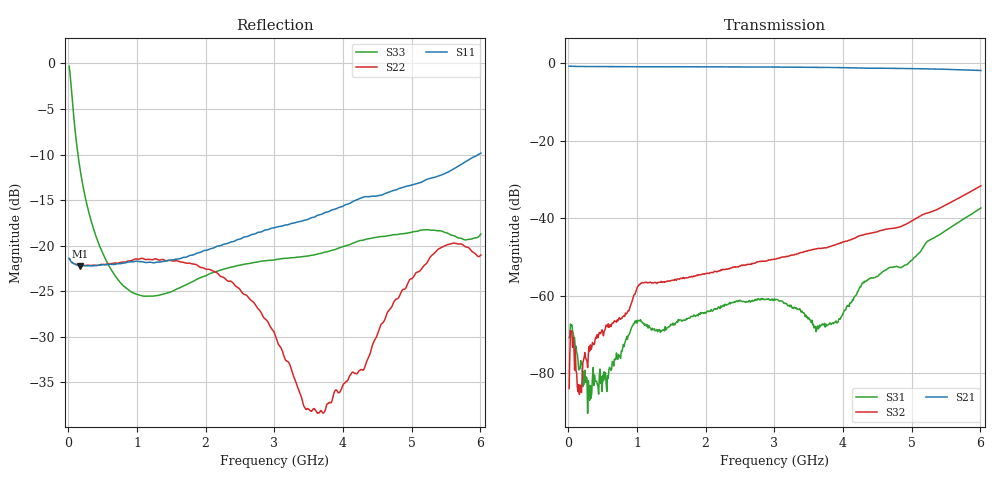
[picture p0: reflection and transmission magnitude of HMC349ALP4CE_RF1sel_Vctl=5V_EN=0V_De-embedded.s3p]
! Device:	HMC349ALP4CE
! Description:	SOI MMIC SPDT Non-Reflective Switch
! Package:	LP4CE 16 pin 4x4 mm QFN Plastic Package
! Frequency:	DC -  4 GHz
! Ports:
! RFC = Port 1
! RF1 = Port 2
! RF2 = Port 3
! State: RF1 Selected
! Supply Voltage:
! Vdd = +5 V
! Control Voltages:
! Vctl  = +5 V
! EN  = 0 V
! Data:	Data was collected using a calibrated network analyzer with AFR software.
!	Fixtures were calculated using AFR and fixturing was applied to collect
!	this Deembedded  S Parameter data of HMC349ALP4CE.
! Note:	Analog Devices supplies this data as a sample of measured data at the package pin
!	for this product.  Your particular data for this product may vary.
!	Data was taken at 25 degrees C.
!	Analog Devices reserves the right to change this data at anytime.
# Hz S  dB  R 50
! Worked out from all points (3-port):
!   601 points, 10 MHz to 6.01 GHz, reference 50 ohm
!   strongest paths, dB at 10 MHz, 1.51 GHz, 3.01 GHz, 4.51 GHz, 6.01 GHz:
!     S21: -0.8, -1.0, -1.1, -1.4, -1.9
!     S32: -83.9, -56.0, -50.6, -43.4, -31.7
!     S31: -70.8, -67.5, -61.1, -54.9, -37.4
!   lowest |S11| = -22.3 dB at 170 MHz (marker M1), VSWR 1.17, Z = 58.3 - j0.479 ohm
!   |S11| at or under -10 dB: start of sweep to 5.972 GHz
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1e7  -21.40 -0.1  -0.83 -0.4  -68.73 31.9
     -0.83 -0.4  -21.45 -0.9  -67.56 34.9
     -70.79 8.9  -83.93 24.7  -0.30 -11.8
5e7  -21.84 -3.1  -0.87 -1.5  -67.92 -22.3
     -0.87 -1.5  -21.80 -2.7  -68.81 -12.5
     -67.49 -21.0  -69.12 -4.8  -3.43 -44.6
1.7e8  -22.26 -3.0  -0.91 -4.4  -79.29 -35.9
       -0.91 -4.4  -22.09 -2.6  -81.83 37.5
       -78.75 -34.7  -83.03 45.6  -11.63 -67.4
5.6e8  -22.09 -5.6  -0.94 -13.9  -78.77 43.5
       -0.94 -13.9  -22.02 -4.2  -68.36 92.7
       -84.66 50.7  -67.75 91.3  -21.80 -58.3
1.06e9  -21.76 -12.7  -0.98 -26.0  -66.51 -67.6
        -0.98 -26.0  -21.40 -8.9  -56.79 116.7
        -66.61 -66.4  -56.79 116.4  -25.48 -28.4
3.01e9  -18.03 -70.1  -1.06 -74.7  -61.03 127.6
        -1.06 -74.7  -29.78 -6.5  -50.54 115.1
        -61.13 126.6  -50.58 115.0  -21.55 27.2
3.46e9  -17.18 -88.5  -1.12 -86.5  -64.93 121.5
        -1.11 -86.4  -37.98 28.0  -48.56 116.9
        -65.01 123.3  -48.53 117.2  -21.16 24.6
3.89e9  -15.98 -104.8  -1.19 -97.9  -67.58 -171.8
        -1.18 -97.9  -35.87 63.6  -46.83 118.2
        -66.80 -168.0  -46.86 118.4  -20.42 18.1
5.37e9  -12.41 -153.9  -1.59 -138.6  -44.60 -132.5
        -1.58 -138.6  -20.53 57.3  -37.78 105.3
        -44.63 -132.3  -37.79 105.2  -18.36 -0.1
6.01e9  -9.85 -167.1  -1.95 -159.3  -37.38 -137.0
        -1.94 -159.3  -21.03 16.9  -31.66 92.2
        -37.36 -136.9  -31.66 92.3  -18.72 -35.5
